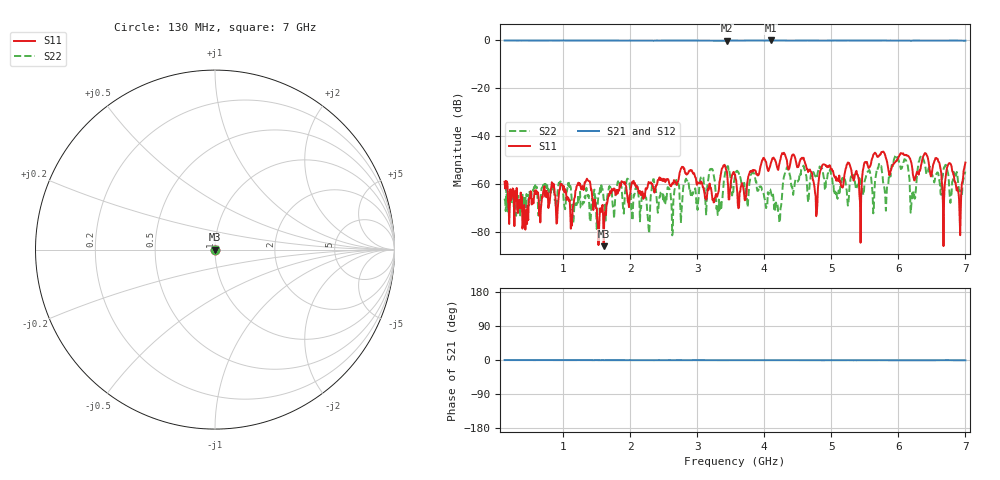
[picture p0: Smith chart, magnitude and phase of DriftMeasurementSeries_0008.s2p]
# Hz S RI R 50.000000
! Metas.Vna.Tools, 2.8.8664.20301
! Metas.Vna.Data, 2.8.8664.20285
! Created: UTC 2024.02.11 10:08:08
! FREQ  re:S1,1  im:S1,1  re:S2,1  im:S2,1  re:S1,2  im:S1,2  re:S2,2  im:S2,2
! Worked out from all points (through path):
!   801 points, 130 MHz to 7 GHz, reference 50 ohm
!   highest |S21| = 0.02 dB at 4.097 GHz (marker M1); lowest = -0.1 dB at 3.445 GHz (marker M2)
!   lowest |S11| = -85.9 dB at 1.607 GHz (marker M3), VSWR 1.00, Z = 50 + j0.0018 ohm
!   |S11| at or under -10 dB: start of sweep to end of sweep
!   |S22| runs from -81.4 to -47.7 dB; largest |S21 - S12| = 0.011
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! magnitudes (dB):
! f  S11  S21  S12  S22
! 130 MHz  -59.0  0.0  0.0  -66.0
! 430.6 MHz  -72.7  0.0  0.0  -65.0
! 1.281 GHz  -61.9  0.0  0.0  -68.8
! 1.607 GHz  -85.9  0.0  0.0  -66.3
! 2.423 GHz  -58.1  0.0  0.0  -70.3
! 3.213 GHz  -62.6  -0.1  0.0  -53.6
! 3.325 GHz  -62.4  -0.1  0.0  -66.4
! 3.445 GHz  -54.8  -0.1  0.0  -53.0
! 3.565 GHz  -55.9  0.0  0.0  -56.5
! 4.097 GHz  -51.4  0.0  0.0  -62.9
! 4.218 GHz  -52.6  0.0  0.0  -72.4
! 4.329 GHz  -49.3  0.0  0.0  -54.0
! 4.716 GHz  -55.6  0.0  0.0  -54.6
! 5.858 GHz  -54.8  -0.1  0.0  -57.2
! 6.107 GHz  -47.9  -0.1  0.0  -49.9
! 6.219 GHz  -56.2  0.0  0.0  -65.6
! 6.347 GHz  -51.2  -0.1  0.0  -47.9
! 6.588 GHz  -49.5  0.0  0.0  -55.1
! 6.674 GHz  -85.8  -0.1  0.0  -53.9
! 6.76 GHz  -51.2  0.0  0.0  -61.7
! 6.906 GHz  -66.2  0.0  0.0  -62.8
! 7 GHz  -51.0  -0.1  0.0  -54.7
